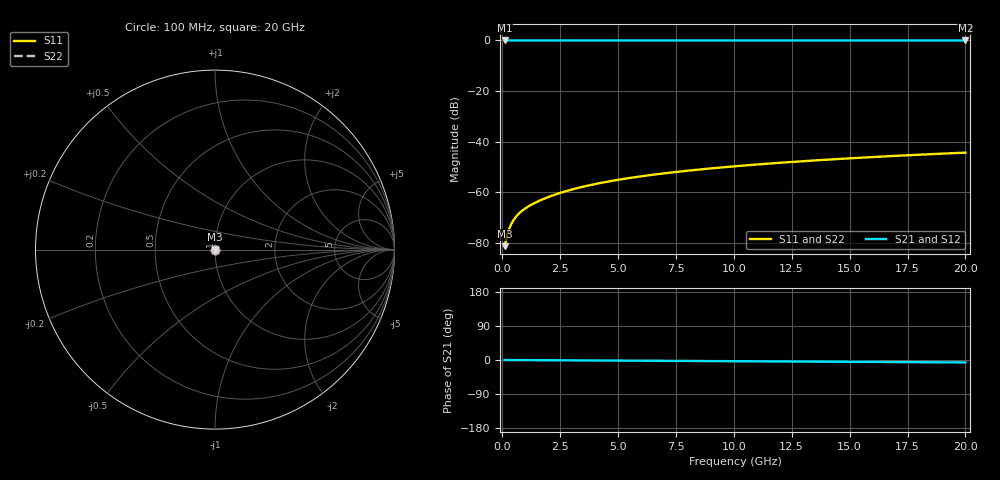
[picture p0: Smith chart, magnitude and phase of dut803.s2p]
! Touchstone file exported from HFSS 2026.1.0
!  File:  C:/ffzhzh/LocalFiles/Ansys_Project_Files/temp_train_TSV_803_1783184122_22436.aedt
!  Generated:  12:57:01 AM Jul  5, 2026
!  Design:  TSV
!  Project:  temp_train_TSV_803_1783184122_22436
! Variables:
!  h_bsmrdl = 2um
!  h_ox = 20um
!  h_rdl = 5um
!  h_sub = 57.88um
!  h_tmrdl = 5um
!  h_tsv = 57.88um
!  h_via = 3um
!  l_bsmrdl = 300um
!  l_sub = 428.12um
!  l_tmrdl = 200um
!  m_sub = 200um
!  pitch = 58.44um
!  r_tsv = 14.06um
!  s_tmrdl = 10um
!  w_bsmrdl = 18um
!  w_sub = 500um
!  w_tmrdl = 12um
!  x_tsv_center1 = 206um
!  x_tsv_center2 = 524um
!  x_tsv_center3 = 736um
!  x_tsv_center4 = 1054um
!  x_tsv_center5 = 1266um
!  x_tsv_center6 = 1584um
# GHz S MA R 50.000000
! Terminal data exported
! Port[1] = TSV1_1_T1
! Port[2] = TSV1_1_T2
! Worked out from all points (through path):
!   200 points, 100 MHz to 20 GHz, reference 50 ohm
!   highest |S21| = 0.00 dB at 100 MHz (marker M1); lowest = 0.0 dB at 20 GHz (marker M2)
!   lowest |S11| = -81.3 dB at 100 MHz (marker M3), VSWR 1.00, Z = 50 + j0.00604 ohm
!   |S11| at or under -10 dB: start of sweep to end of sweep
!   |S22| runs from -81.3 to -44.3 dB; largest |S21 - S12| = 3.7e-15
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0.1  8.636e-05 44.3  0.9999 -0.0  0.9999 -0.0  8.636e-05 44.3
! Gamma 0 0 0 0
! Port Impedance 50 0 50 0
0.3  0.0001918 63.6  0.9999 -0.1  0.9999 -0.1  0.0001918 63.6
0.4  0.0002429 65.2  0.9999 -0.1  0.9999 -0.1  0.0002429 65.2
0.5  0.0002901 65.8  0.9999 -0.2  0.9999 -0.2  0.0002901 65.8
0.6  0.0003337 66.1  0.9999 -0.2  0.9999 -0.2  0.0003337 66.1
0.7  0.0003743 66.3  0.9999 -0.2  0.9999 -0.2  0.0003743 66.3
0.9  0.0004486 66.8  0.9998 -0.3  0.9998 -0.3  0.0004486 66.8
1.1  0.0005176 67.5  0.9998 -0.4  0.9998 -0.4  0.0005176 67.5
1.3  0.0005839 68.4  0.9998 -0.4  0.9998 -0.4  0.0005839 68.4
1.6  0.0006816 69.7  0.9998 -0.5  0.9998 -0.5  0.0006816 69.7
1.9  0.0007787 70.9  0.9997 -0.6  0.9997 -0.6  0.0007787 70.9
2.6  0.001005 73.0  0.9997 -0.8  0.9997 -0.8  0.001005 73.0
3.5  0.001295 74.6  0.9997 -1.1  0.9997 -1.1  0.001295 74.6
4.2  0.001517 75.3  0.9996 -1.3  0.9996 -1.3  0.001517 75.3
5  0.001767 75.9  0.9996 -1.6  0.9996 -1.6  0.001767 75.9
5.9  0.002043 76.3  0.9996 -1.9  0.9996 -1.9  0.002043 76.3
6.8  0.002314 76.6  0.9995 -2.2  0.9995 -2.2  0.002314 76.6
8.3  0.00276 77.0  0.9995 -2.7  0.9995 -2.7  0.00276 77.0
10.1  0.003287 77.2  0.9994 -3.2  0.9994 -3.2  0.003287 77.2
13.4  0.004239 77.2  0.9994 -4.3  0.9994 -4.3  0.004239 77.2
16.7  0.005174 76.9  0.9993 -5.3  0.9993 -5.3  0.005174 76.9
20  0.006087 76.3  0.9992 -6.4  0.9992 -6.4  0.006087 76.3
